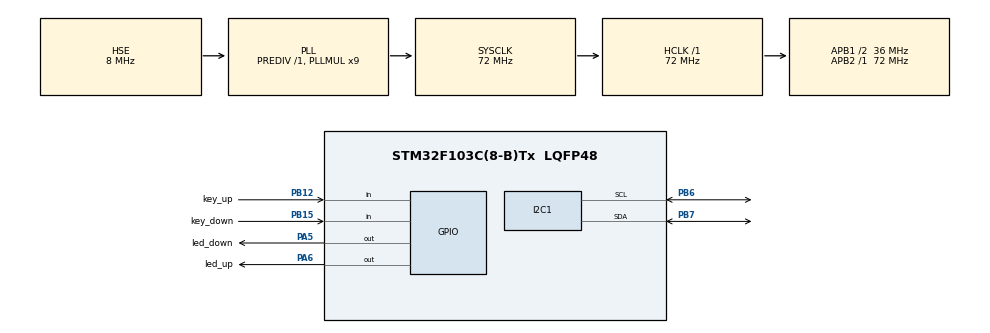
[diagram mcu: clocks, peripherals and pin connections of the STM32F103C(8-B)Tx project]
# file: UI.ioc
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I2C1.I2C_Mode=I2C_Fast
Mcu.Family=STM32F1
Mcu.Name=STM32F103C(8-B)Tx
Mcu.Package=LQFP48
NVIC.PriorityGroup=NVIC_PRIORITYGROUP_4
PA13.Mode=Serial_Wire
PA13.Signal=SYS_JTMS-SWDIO
PA14.Mode=Serial_Wire
PA14.Signal=SYS_JTCK-SWCLK
PA5.GPIO_Label=led_down
PA5.GPIO_PuPd=GPIO_PULLUP
PA5.Signal=GPIO_Output
PA6.GPIO_Label=led_up
PA6.GPIO_PuPd=GPIO_PULLUP
PA6.Signal=GPIO_Output
PB12.GPIO_Label=key_up
PB12.GPIO_PuPd=GPIO_PULLDOWN
PB12.Signal=GPIO_Input
PB15.GPIO_Label=key_down
PB15.GPIO_PuPd=GPIO_PULLDOWN
PB15.Signal=GPIO_Input
PB6.Mode=I2C
PB6.Signal=I2C1_SCL
PB7.Mode=I2C
PB7.Signal=I2C1_SDA
PD0-OSC_IN.Mode=HSE-External-Oscillator
PD0-OSC_IN.Signal=RCC_OSC_IN
PD1-OSC_OUT.Mode=HSE-External-Oscillator
PD1-OSC_OUT.Signal=RCC_OSC_OUT
ProjectManager.HeapSize=0x200
ProjectManager.StackSize=0x400
ProjectManager.TargetToolchain=MDK-ARM V5.32
RCC.AHBFreq_Value=72000000
RCC.APB1CLKDivider=RCC_HCLK_DIV2
RCC.APB1Freq_Value=36000000
RCC.APB1TimFreq_Value=72000000
RCC.APB2Freq_Value=72000000
RCC.APB2TimFreq_Value=72000000
RCC.HCLKFreq_Value=72000000
RCC.PLLMUL=RCC_PLL_MUL9
RCC.PLLSourceVirtual=RCC_PLLSOURCE_HSE
RCC.SYSCLKFreq_VALUE=72000000
RCC.SYSCLKSource=RCC_SYSCLKSOURCE_PLLCLK
RCC.USBFreq_Value=72000000
board=custom

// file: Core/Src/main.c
/* USER CODE BEGIN Header */
/**
 ******************************************************************************
 * @file           : main.c
 * @brief          : bash
 ******************************************************************************
 * 这个示例展示了如何使用 astra-ui 创建一个简单的菜单系统
 * 包含：主菜单、子菜单、弹窗提示
 ******************************************************************************
 */
/* USER CODE END Header */
#include "main.h"
#include "i2c.h"
#include "gpio.h"

/* USER CODE BEGIN Includes */
#include "key.h"
#include "oled.h"
#include "simple_menu.h"
#include <stdio.h>
/* USER CODE END Includes */

void SystemClock_Config(void);

int main(void)
{

  /* MCU Configuration--------------------------------------------------------*/

  /* Reset of all peripherals, Initializes the Flash interface and the Systick. */
  HAL_Init();

  /* Configure the system clock */
  SystemClock_Config();

  /* Initialize all configured peripherals */
  MX_GPIO_Init();
  MX_I2C1_Init();
  /* USER CODE BEGIN 2 */

  // ========================================
  // 初始化 OLED 和菜单系统
  // ========================================

  // 1. 初始化 OLED
  OLED_Init();

  // 2. 等待 OLED 稳定
  HAL_Delay(20);

  // 3. 初始化菜单系统
  Menu_Init();

  // 4. 创建菜单结构
  // 创建根菜单 (ID: 0)
  Menu_CreateMenu(0, "Main Menu", 0);

  // 添加菜单项到根菜单
  Menu_AddItem(0, 1, "Settings");
  Menu_AddItem(0, 2, "Sensors");
  Menu_AddItem(0, 3, "About");

  // 创建子菜单 (ID: 1) - Settings
  Menu_CreateMenu(1, "Settings", 0);
  Menu_AddItem(1, 11, "Brightness");
  Menu_AddItem(1, 12, "Volume");
  Menu_AddItem(1, 13, "Language");

  // 创建子菜单 (ID: 2) - Sensors
  Menu_CreateMenu(2, "Sensors", 0);
  Menu_AddItem(2, 21, "Temperature");
  Menu_AddItem(2, 22, "Humidity");
  Menu_AddItem(2, 23, "Pressure");

  // 创建子菜单 (ID: 3) - About
  Menu_CreateMenu(3, "About", 0);
  Menu_AddItem(3, 31, "Version");
  Menu_AddItem(3, 32, "Author");

  // 5. 显示初始菜单
  Menu_Show();

  /* USER CODE END 2 */

  /* Infinite loop */
  while (1)
  {

    /* USER CODE BEGIN 3 */

    // ========================================
    // 主循环 - 处理按键和更新菜单
    // ========================================

    // 使用原来的按键处理函数（状态机消抖）
    uint8_t key_event = key_process();

    // 处理按键事件
    if (key_event == KEY_UP_PRESSED)
    {
      HAL_GPIO_WritePin(led_up_GPIO_Port, led_up_Pin, GPIO_PIN_RESET);
      Menu_KeyUp();
      Menu_Show();
    }
    else if (key_event == KEY_DOWN_PRESSED)
    {
      HAL_GPIO_WritePin(led_down_GPIO_Port, led_down_Pin, GPIO_PIN_RESET);
      Menu_KeyDown();
      Menu_Show();
    }
    HAL_GPIO_WritePin(led_up_GPIO_Port, led_up_Pin, GPIO_PIN_SET);
    HAL_GPIO_WritePin(led_down_GPIO_Port, led_down_Pin, GPIO_PIN_SET);

    // 添加小延迟（避免 CPU 占用过高）
    HAL_Delay(10);
  }
  /* USER CODE END 3 */
}

void SystemClock_Config(void)
{
  RCC_OscInitTypeDef RCC_OscInitStruct = {0};
  RCC_ClkInitTypeDef RCC_ClkInitStruct = {0};

  /** Initializes the RCC Oscillators according to the specified parameters
   * in the RCC_OscInitTypeDef structure.
   */
  RCC_OscInitStruct.OscillatorType = RCC_OSCILLATORTYPE_HSE;
  RCC_OscInitStruct.HSEState = RCC_HSE_ON;
  RCC_OscInitStruct.HSEPredivValue = RCC_HSE_PREDIV_DIV1;
  RCC_OscInitStruct.HSIState = RCC_HSI_ON;
  RCC_OscInitStruct.PLL.PLLState = RCC_PLL_ON;
  RCC_OscInitStruct.PLL.PLLSource = RCC_PLLSOURCE_HSE;
  RCC_OscInitStruct.PLL.PLLMUL = RCC_PLL_MUL9;
  if (HAL_RCC_OscConfig(&RCC_OscInitStruct) != HAL_OK)
  {
    Error_Handler();
  }

  /** Initializes the CPU, AHB and APB buses clocks
   */
  RCC_ClkInitStruct.ClockType = RCC_CLOCKTYPE_HCLK | RCC_CLOCKTYPE_SYSCLK | RCC_CLOCKTYPE_PCLK1 | RCC_CLOCKTYPE_PCLK2;
  RCC_ClkInitStruct.SYSCLKSource = RCC_SYSCLKSOURCE_PLLCLK;
  RCC_ClkInitStruct.AHBCLKDivider = RCC_SYSCLK_DIV1;
  RCC_ClkInitStruct.APB1CLKDivider = RCC_HCLK_DIV2;
  RCC_ClkInitStruct.APB2CLKDivider = RCC_HCLK_DIV1;

  if (HAL_RCC_ClockConfig(&RCC_ClkInitStruct, FLASH_LATENCY_2) != HAL_OK)
  {
    Error_Handler();
  }
}

/* USER CODE BEGIN 4 */

/**
 * @brief  添加自定义功能的示例函数
 * @note   你可以在菜单项中调用这些函数
 * @note   这些函数目前只是示例，实际使用时需要添加具体功能
 */
void showTemperature(void)
{
  // 这里读取温度传感器数据
  // float temp = read_sensor();  // 示例：读取传感器

  // 显示信息（使用 OLED 驱动）
  // OLED_NewFrame();
  // OLED_PrintASCIIString(0, 0, "Temp: 25.5 C", &Font16, OLED_COLOR_NORMAL);
  // OLED_ShowFrame();
}

void showHumidity(void)
{
  // 这里读取湿度传感器数据
  // float humidity = read_sensor();  // 示例：读取传感器

  // 显示信息（使用 OLED 驱动）
  // OLED_NewFrame();
  // OLED_PrintASCIIString(0, 0, "Hum: 60.0%", &Font16, OLED_COLOR_NORMAL);
  // OLED_ShowFrame();
}

/* USER CODE END 4 */

void Error_Handler(void)
{
  __disable_irq();
  while (1)
  {
  }
}
